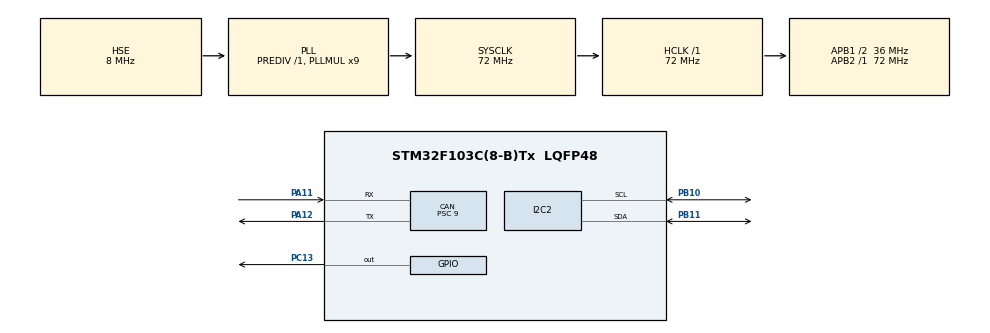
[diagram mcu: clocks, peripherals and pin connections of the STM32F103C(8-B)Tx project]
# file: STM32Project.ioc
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CAN.BS1=CAN_BS1_5TQ
CAN.BS2=CAN_BS2_2TQ
CAN.CalculateBaudRate=500000
CAN.CalculateTimeBit=2000
CAN.CalculateTimeQuantum=250.0
CAN.NART=ENABLE
CAN.Prescaler=9
Mcu.Family=STM32F1
Mcu.Name=STM32F103C(8-B)Tx
Mcu.Package=LQFP48
NVIC.PriorityGroup=NVIC_PRIORITYGROUP_4
NVIC.TIM1_UP_IRQn=true\:15\:0\:false\:false\:true\:false\:true\:true
NVIC.TimeBase=TIM1_UP_IRQn
NVIC.TimeBaseIP=TIM1
NVIC.USB_LP_CAN1_RX0_IRQn=true\:0\:0\:false\:false\:true\:true\:true\:true
PA11.Mode=CAN_Activate
PA11.Signal=CAN_RX
PA12.Mode=CAN_Activate
PA12.Signal=CAN_TX
PA13.Mode=Serial_Wire
PA13.Signal=SYS_JTMS-SWDIO
PA14.Mode=Serial_Wire
PA14.Signal=SYS_JTCK-SWCLK
PB10.Mode=I2C
PB10.Signal=I2C2_SCL
PB11.Mode=I2C
PB11.Signal=I2C2_SDA
PC13-TAMPER-RTC.PinState=GPIO_PIN_SET
PC13-TAMPER-RTC.Signal=GPIO_Output
PD0-OSC_IN.Mode=HSE-External-Oscillator
PD0-OSC_IN.Signal=RCC_OSC_IN
PD1-OSC_OUT.Mode=HSE-External-Oscillator
PD1-OSC_OUT.Signal=RCC_OSC_OUT
ProjectManager.HeapSize=0x200
ProjectManager.StackSize=0x400
ProjectManager.TargetToolchain=MDK-ARM V5.32
RCC.AHBFreq_Value=72000000
RCC.APB1CLKDivider=RCC_HCLK_DIV2
RCC.APB1Freq_Value=36000000
RCC.APB1TimFreq_Value=72000000
RCC.APB2Freq_Value=72000000
RCC.APB2TimFreq_Value=72000000
RCC.HCLKFreq_Value=72000000
RCC.PLLMUL=RCC_PLL_MUL9
RCC.PLLSourceVirtual=RCC_PLLSOURCE_HSE
RCC.SYSCLKFreq_VALUE=72000000
RCC.SYSCLKSource=RCC_SYSCLKSOURCE_PLLCLK
RCC.USBFreq_Value=72000000
VP_SYS_VS_tim1.Mode=TIM1
board=custom

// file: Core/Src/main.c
/* USER CODE BEGIN Header */
/**
  ******************************************************************************
  * @file           : main.c
  * @brief          : Main program body
  ******************************************************************************
  * @attention
  *
  * Copyright (c) 2026 STMicroelectronics.
  * All rights reserved.
  *
  * This software is licensed under terms that can be found in the LICENSE file
  * in the root directory of this software component.
  * If no LICENSE file comes with this software, it is provided AS-IS.
  *
  ******************************************************************************
  */
/* USER CODE END Header */
#include "main.h"
#include "can.h"
#include "i2c.h"
#include "gpio.h"

/* USER CODE BEGIN Includes */
#include "spider_kinematics.h"
#include "servo.h"
#include "actions.h"
/* USER CODE END Includes */

void SystemClock_Config(void);

/* USER CODE BEGIN 0 */

CAN_RxHeaderTypeDef rx_header;
uint8_t rx_data[8];

// can_rx_flag: 0=无新指令, 1=收到新指令（指令字节在 can_rx_cmd 里）
// can_rx_cmd : 收到的指令字节（0x00=停止也有效）
volatile uint8_t can_rx_flag = 0;
volatile uint8_t can_rx_cmd  = 0;

void HAL_CAN_RxFifo0MsgPendingCallback(CAN_HandleTypeDef *hcan)
{
    // ⚠️ 这是 ISR 上下文！禁止调用 HAL_Delay、禁止耗时操作！
    if (HAL_CAN_GetRxMessage(hcan, CAN_RX_FIFO0, &rx_header, rx_data) == HAL_OK)
    {
        if (rx_header.StdId == 0x100 && rx_header.IDE == CAN_ID_STD)
        {
            can_rx_cmd  = rx_data[0];  // 存指令字节（0x00 也有效）
            can_rx_flag = 1;           // 通知主循环，同时打断正在执行的动作
        }
    }
}

/* USER CODE END 0 */

int main(void)
{

  /* MCU Configuration--------------------------------------------------------*/

  /* Reset of all peripherals, Initializes the Flash interface and the Systick. */
  HAL_Init();

  /* Configure the system clock */
  SystemClock_Config();

  /* Initialize all configured peripherals */
  MX_GPIO_Init();
  MX_I2C2_Init();
  MX_CAN_Init();
  /* USER CODE BEGIN 2 */
    // 1. 初始化 PCA9685
    Servo_Init();
    // 2. LED 指示初始化完成
    HAL_GPIO_WritePin(GPIOC, GPIO_PIN_13, GPIO_PIN_SET);
    HAL_Delay(500);
    HAL_GPIO_WritePin(GPIOC, GPIO_PIN_13, GPIO_PIN_RESET);
    HAL_Delay(500);
    HAL_GPIO_WritePin(GPIOC, GPIO_PIN_13, GPIO_PIN_SET);

    // 3. 配置过滤器（只接收标准ID=0x100）
    CAN_FilterTypeDef filter;
    filter.FilterBank = 0;
    filter.FilterMode = CAN_FILTERMODE_IDMASK;
    filter.FilterScale = CAN_FILTERSCALE_32BIT;
    filter.FilterIdHigh = 0x0100 << 5;
    filter.FilterIdLow = 0x0000;
    filter.FilterMaskIdHigh = 0x07FF << 5;
    filter.FilterMaskIdLow = 0x0000;
    filter.FilterFIFOAssignment = CAN_RX_FIFO0;
    filter.FilterActivation = ENABLE;
    HAL_CAN_ConfigFilter(&hcan, &filter);

    // 4. 启动 CAN
    if (HAL_CAN_Start(&hcan) != HAL_OK) {
        HAL_GPIO_WritePin(GPIOC, GPIO_PIN_13, GPIO_PIN_RESET);
        while(1);
    }

    // 5. 使能接收中断
    if (HAL_CAN_ActivateNotification(&hcan, CAN_IT_RX_FIFO0_MSG_PENDING) != HAL_OK) {
        HAL_GPIO_WritePin(GPIOC, GPIO_PIN_13, GPIO_PIN_RESET);
        while(1);
    }

    // 6. 手动使能 CAN 接收中断的 NVIC（确保中断开启）
    HAL_NVIC_SetPriority(USB_LP_CAN1_RX0_IRQn, 0, 0);
    HAL_NVIC_EnableIRQ(USB_LP_CAN1_RX0_IRQn);

    // 7. 初始站立
    Action_Stand();
  /* USER CODE END 2 */

  /* Infinite loop */
  /* USER CODE BEGIN WHILE */
  HAL_Delay(500);
  while (1)
  {
    static uint32_t led_tick = 0;

    // ===== 处理 CAN 收到的指令（主循环处理，不在 ISR） =====
    if (can_rx_flag)
    {
        uint8_t cmd = can_rx_cmd;
        can_rx_flag = 0;

        // 收到指令：LED 快闪 2 次
        for (int i = 0; i < 2; i++) {
            HAL_GPIO_WritePin(GPIOC, GPIO_PIN_13, GPIO_PIN_RESET);
            HAL_Delay(30);
            HAL_GPIO_WritePin(GPIOC, GPIO_PIN_13, GPIO_PIN_SET);
            HAL_Delay(30);
        }

        // 先复位到站立（若上个动作被打断，先把姿态收回来），再执行新动作
        Action_Stand();

        switch(cmd)
        {
            case 0x00: Action_Stand(); break;    // 停止（网页「停止」）
            case 0x01: Action_Stand(); break;    // 站立
            case 0x02: Action_Squat(); break;    // 蹲下（网页「蹲下」）
            case 0x03: Action_RaiseHand(SERVO_KNEE_RB, SERVO_HIP_RB); break; // 挥手（网页「挥手」）
            case 0x10: Walk_Forward(4); break;   // 前进
            case 0x11: Walk_Backward(4); break;  // 后退
            case 0x12: Turn_Left(2); break;      // 左转
            case 0x13: Turn_Right(2); break;     // 右转
            case 0x14: Action_Stand(); break;    // 停止（动作14）
            case 0x15: Action_Squat(); break;    // 蹲下（动作15/语音）
            case 0x16: Action_RaiseHand(SERVO_KNEE_RB, SERVO_HIP_RB); break; // 举左手
            case 0x17: Action_RaiseHand(SERVO_KNEE_RF, SERVO_HIP_RF); break; // 举右手
            default: break;
        }
    }

    // 空闲 LED 慢闪（约 500ms 周期），主循环节拍 10ms 保证快速响应新指令
    if (++led_tick >= 50) {
        led_tick = 0;
        HAL_GPIO_TogglePin(GPIOC, GPIO_PIN_13);
    }
    HAL_Delay(10);

    /* USER CODE END WHILE */

}
}

void SystemClock_Config(void)
{
  RCC_OscInitTypeDef RCC_OscInitStruct = {0};
  RCC_ClkInitTypeDef RCC_ClkInitStruct = {0};

  /** Initializes the RCC Oscillators according to the specified parameters
  * in the RCC_OscInitTypeDef structure.
  */
  RCC_OscInitStruct.OscillatorType = RCC_OSCILLATORTYPE_HSE;
  RCC_OscInitStruct.HSEState = RCC_HSE_ON;
  RCC_OscInitStruct.HSEPredivValue = RCC_HSE_PREDIV_DIV1;
  RCC_OscInitStruct.HSIState = RCC_HSI_ON;
  RCC_OscInitStruct.PLL.PLLState = RCC_PLL_ON;
  RCC_OscInitStruct.PLL.PLLSource = RCC_PLLSOURCE_HSE;
  RCC_OscInitStruct.PLL.PLLMUL = RCC_PLL_MUL9;
  if (HAL_RCC_OscConfig(&RCC_OscInitStruct) != HAL_OK)
  {
    Error_Handler();
  }

  /** Initializes the CPU, AHB and APB buses clocks
  */
  RCC_ClkInitStruct.ClockType = RCC_CLOCKTYPE_HCLK|RCC_CLOCKTYPE_SYSCLK
                              |RCC_CLOCKTYPE_PCLK1|RCC_CLOCKTYPE_PCLK2;
  RCC_ClkInitStruct.SYSCLKSource = RCC_SYSCLKSOURCE_PLLCLK;
  RCC_ClkInitStruct.AHBCLKDivider = RCC_SYSCLK_DIV1;
  RCC_ClkInitStruct.APB1CLKDivider = RCC_HCLK_DIV2;
  RCC_ClkInitStruct.APB2CLKDivider = RCC_HCLK_DIV1;

  if (HAL_RCC_ClockConfig(&RCC_ClkInitStruct, FLASH_LATENCY_2) != HAL_OK)
  {
    Error_Handler();
  }
}

void HAL_TIM_PeriodElapsedCallback(TIM_HandleTypeDef *htim)
{
  if (htim->Instance == TIM1)
  {
    HAL_IncTick();
  }
}

void Error_Handler(void)
{
  __disable_irq();
  while (1)
  {
  }
}
